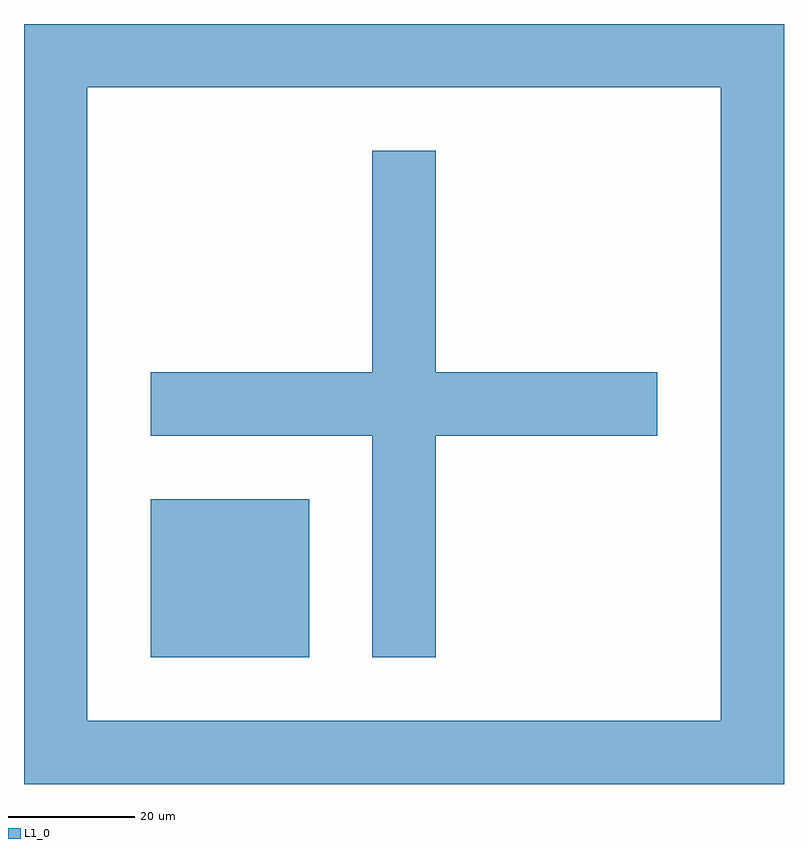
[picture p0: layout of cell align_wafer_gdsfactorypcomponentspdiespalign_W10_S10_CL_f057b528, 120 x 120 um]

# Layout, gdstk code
import gdstk
lib = gdstk.Library(unit=1e-6, precision=1e-09)
def R(c, l, rs):  # rectangles x0, y0, x1, y1
    for r in rs: c.add(gdstk.rectangle(r[:2], r[2:], *l))
def P(c, l, *ps):  # polygons
    for p in ps: c.add(gdstk.Polygon(p, *l))
L1_0 = (1, 0)

cross_gdsfactorypcompone = lib.new_cell('cross_gdsfactorypcomponentspshapespcross_L80_W10_LWG_PTNone')
P(cross_gdsfactorypcompone, L1_0, [(-5,-40),(-5,-5),(-40,-5),(-40,5),(-5,5),(-5,40),(5,40),(5,5),(40,5),(40,-5),(5,-5),(5,-40)])

rectangle_gdsfactorypcom = lib.new_cell('rectangle_gdsfactorypcomponentspshapesprectangle_S120_1_a2e4ff37')
R(rectangle_gdsfactorypcom, L1_0, [(-60,-5,60,5)])

c_rectangle_gdsfactorypcom = lib.new_cell('rectangle_gdsfactorypcomponentspshapesprectangle_S10_11_8c71183d')
R(c_rectangle_gdsfactorypcom, L1_0, [(-5,-55,5,55)])

c_rectangle_gdsfactorypcom_ = lib.new_cell('rectangle_gdsfactorypcomponentspshapesprectangle_S25_25_e325686b')
R(c_rectangle_gdsfactorypcom_, L1_0, [(-12.5,-12.5,12.5,12.5)])

align_wafer_gdsfactorypc = lib.new_cell('align_wafer_gdsfactorypcomponentspdiespalign_W10_S10_CL_f057b528')
align_wafer_gdsfactorypc.add(gdstk.Reference(cross_gdsfactorypcompone, (0,0)))
align_wafer_gdsfactorypc.add(gdstk.Reference(rectangle_gdsfactorypcom, (0,55)))
align_wafer_gdsfactorypc.add(gdstk.Reference(rectangle_gdsfactorypcom, (0,-55)))
align_wafer_gdsfactorypc.add(gdstk.Reference(c_rectangle_gdsfactorypcom, (-55,0)))
align_wafer_gdsfactorypc.add(gdstk.Reference(c_rectangle_gdsfactorypcom, (55,0)))
align_wafer_gdsfactorypc.add(gdstk.Reference(c_rectangle_gdsfactorypcom_, (-27.5,-27.5)))

lib.write_gds('align_wafer_gdsfactorypcomponentspdiespalign_W10_S10_CL_f057b528.gds')
